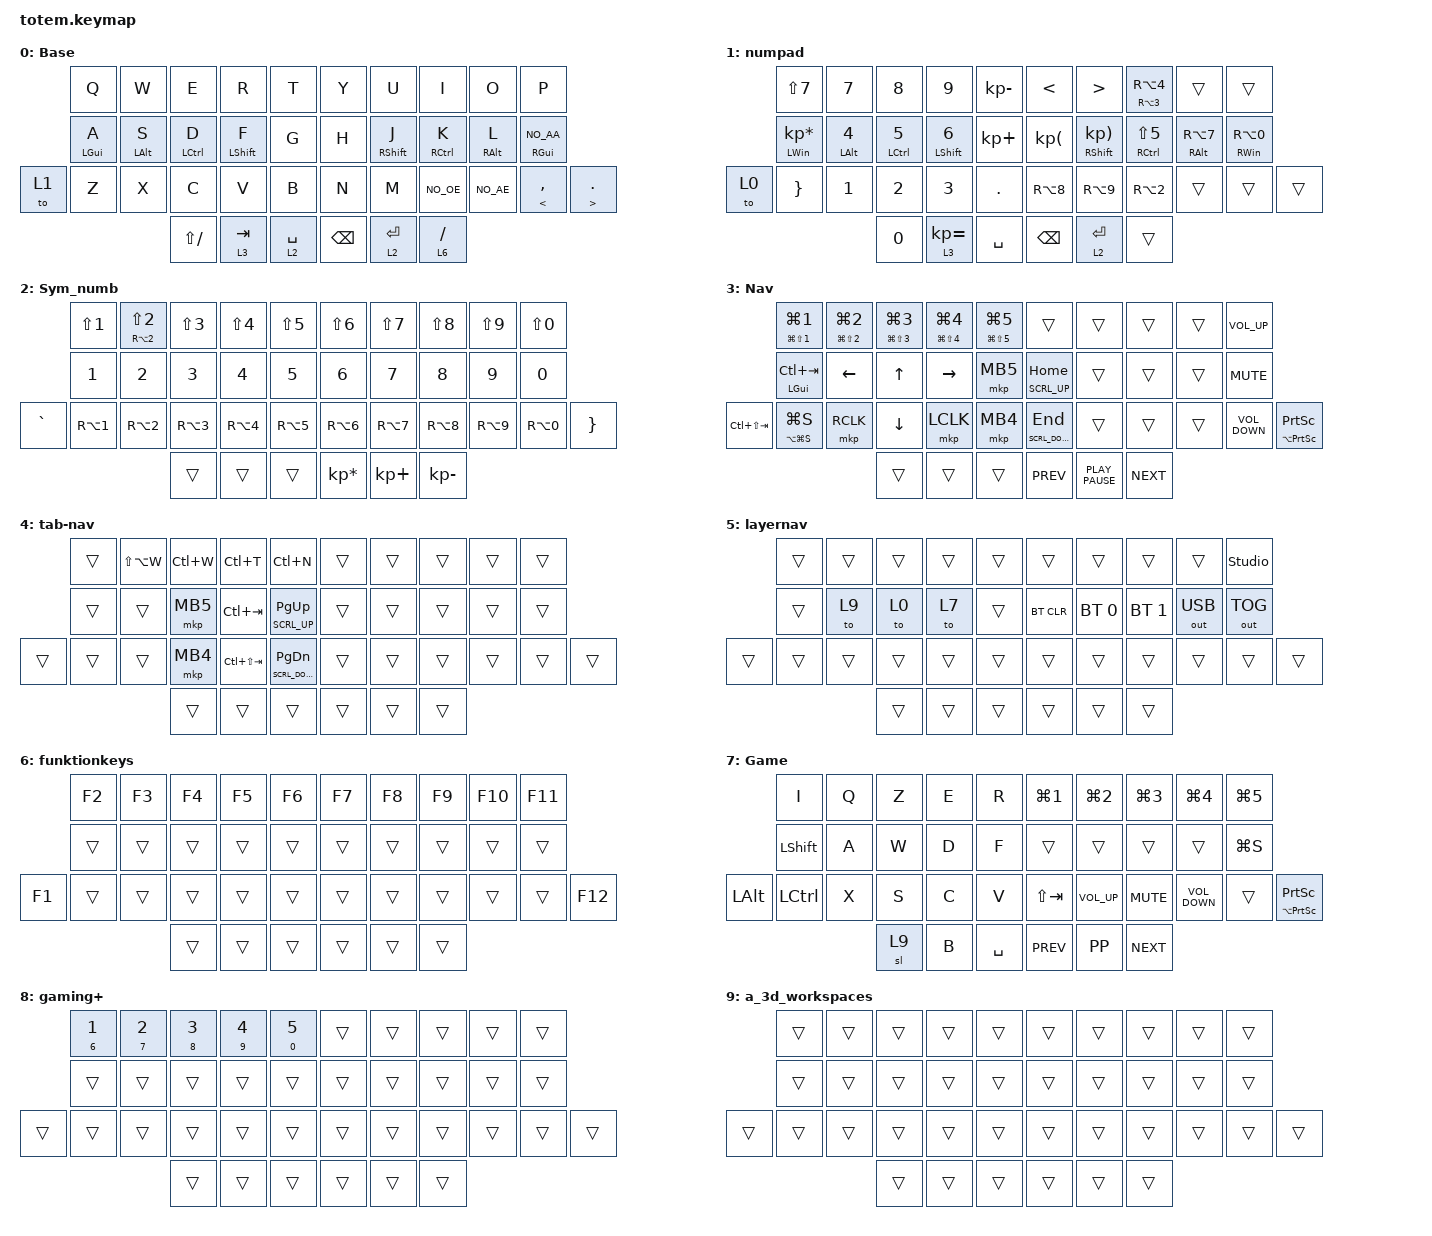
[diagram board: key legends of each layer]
//
//                                                        ▀▀▀▀▀     ▀▀▀▀▀          ▀▀█▀▀
//                                                        ▄▀▀▀▄  ▄  ▄▀▀▀▄  ▄  ▄▀▀▀▄  █  ▄▀▀▀▄
//                                                        █   █  █  █   █  █  █   █  █  █   █
//                                                         ▀▀▀   █   ▀▀▀   █   ▀▀▀   ▀   ▀▀▀
//                                                               █      ▄▄▄█▄▄▄    █   █  
//                                                               ▀      █  █  █     █▄█
//                                                             ▀▀▀▀▀    █  █  █      ▀
//                                                                      ▀  ▀  ▀
//
// ▄▄▄▄▄▄▄▄▄▄▄▄▄▄▄▄▄▄▄▄▄▄▄▄▄▄▄▄▄▄▄▄▄▄▄▄▄▄▄▄▄▄▄▄▄▄▄▄▄▄▄▄▄▄▄▄▄▄▄▄▄▄▄▄▄▄▄▄▄▄▄▄▄▄▄▄▄▄▄▄▄▄▄▄▄▄▄▄▄▄▄▄▄▄▄▄▄▄▄▄▄▄▄▄▄▄▄▄▄▄▄▄▄▄▄▄▄▄▄▄▄▄▄▄▄▄▄▄▄▄▄▄▄▄▄▄▄▄▄▄▄▄▄▄▄▄▄▄▄

#include "keys_no.h"
#include <behaviors.dtsi>
#include <dt-bindings/zmk/keys.h>
#include <dt-bindings/zmk/pointing.h>
#include <dt-bindings/zmk/outputs.h>
#include <dt-bindings/zmk/bt.h>

#define Base        0
#define Nav         1
#define Sym         2
#define Fun         3
#define Game        4
#define Gameplus    5

&mt {
    quick-tap-ms = <100>;
    global-quick-tap;
    flavor = "tap-preferred";
    tapping-term-ms = <170>;
};

&lt {
    tapping-term-ms = <240>;
    flavor = "balanced";
    quick-tap-ms = <150>;
};

/ {
    behaviors {
        hm: homerow_mods {
            compatible = "zmk,behavior-hold-tap";
            label = "HOMEROW_MODS";
            #binding-cells = <2>;
            flavor = "tap-preferred";
            tapping-term-ms = <200>;
            quick-tap-ms = <125>;
            global-quick-tap;
            bindings = <&kp>, <&kp>;
        };

        kp_msc: kp_msc {
            compatible = "zmk,behavior-hold-tap";
            label = "KP_MSC";
            bindings = <&msc>, <&kp>;

            #binding-cells = <2>;
            tapping-term-ms = <200>;
            quick-tap-ms = <125>;
        };
    };

    combos {
        compatible = "zmk,combos";

        escape {
            bindings = <&kp ESC>;
            key-positions = <0 1>;
        };

        backspace {
            bindings = <&kp BACKSPACE>;
            key-positions = <3 4>;
            layers = <3 1 2 0>;
        };

        aaaaaaa {
            bindings = <&kp BACKSPACE>;
            key-positions = <6 5>;
            layers = <1 2 0 3>;
        };

        tabgames {
            bindings = <&kp TAB>;
            key-positions = <21 22>;
            layers = <7>;
        };

        enter {
            bindings = <&kp ENTER>;
            key-positions = <12 11 13>;
            layers = <0 2 1 3>;
        };

        enter2 {
            bindings = <&kp ENTER>;
            key-positions = <16 17 18>;
            layers = <0 2 1 3>;
        };

        tab2 {
            bindings = <&kp TAB>;
            key-positions = <19 18>;
            layers = <0 2 3 1>;
        };

        tab {
            bindings = <&kp TAB>;
            key-positions = <11 10>;
            layers = <0 2 3 1>;
        };

        null {
            bindings = <&kp NUMBER_0>;
            key-positions = <23 22>;
            layers = <1>;
        };

        layernav {
            bindings = <&to 5>;
            key-positions = <21 22 23 24>;
        };
    };

    keymap {
        compatible = "zmk,keymap";

        Base {
            display-name = "Base";
            bindings = <
       &kp Q       &kp W       &kp E          &kp R         &kp T          &kp Y          &kp U        &kp I        &kp O       &kp P
       &hm LGUI A  &hm LALT S  &hm LCTRL D    &hm LSHIFT F  &kp G          &kp H          &hm RSHFT J  &hm RCTRL K  &hm RALT L  &hm RGUI NO_AA
&to 1  &kp Z       &kp X       &kp C          &kp V         &kp B          &kp N          &kp M        &kp NO_OE    &kp NO_AE   &mt LESS_THAN COMMA  &mt GREATER_THAN DOT
                               &kp LS(SLASH)  &lt 3 TAB     &lt 2 SPACE    &kp BACKSPACE  &lt 2 ENTER  &lt 6 SLASH
            >;
        };

        numpad {
            bindings = <
       &kp LS(NUMBER_7)          &kp N7           &kp N8        &kp N9             &kp KP_MINUS    &kp LT                   &kp GREATER_THAN                      &mt RA(NUMBER_3) RA(NUMBER_4)  &trans                      &trans
       &hm LEFT_WIN KP_MULTIPLY  &hm LEFT_ALT N4  &hm LCTRL N5  &hm LEFT_SHIFT N6  &kp KP_PLUS     &kp KP_LEFT_PARENTHESIS  &hm RIGHT_SHIFT KP_RIGHT_PARENTHESIS  &hm RCTRL LS(NUMBER_5)         &hm RIGHT_ALT RA(NUMBER_7)  &hm RIGHT_WIN RA(NUMBER_0)
&to 0  &kp RBRC                  &kp N1           &kp N2        &kp N3             &kp DOT         &kp RA(NUMBER_8)         &kp RA(NUMBER_9)                      &kp RA(NUMBER_2)               &trans                      &trans                      &trans
                                                  &kp N0        &lt 3 KP_EQUAL     &kp SPACE       &kp BACKSPACE            &lt 2 ENTER                           &trans
            >;
        };

        numsym {
            display-name = "Sym_numb";
            bindings = <
           &kp LS(NUMBER_1)  &mt RA(NUMBER_2) LS(NUMBER_2)  &kp LS(N3)  &kp LS(N4)  &kp LS(N5)    &kp LS(N6)       &kp LS(N7)   &kp LS(N8)    &kp LS(N9)  &kp LS(N0)
           &kp N1            &kp N2                         &kp N3      &kp N4      &kp N5        &kp N6           &kp N7       &kp N8        &kp N9      &kp N0
&kp GRAVE  &kp RA(N1)        &kp RA(N2)                     &kp RA(N3)  &kp RA(N4)  &kp RA(N5)    &kp RA(N6)       &kp RA(N7)   &kp RA(N8)    &kp RA(N9)  &kp RA(N0)  &kp RIGHT_BRACE
                                                            &trans      &trans      &trans        &kp KP_MULTIPLY  &kp KP_PLUS  &kp KP_MINUS
            >;
        };

        Nav {
            display-name = "Nav";
            bindings = <
                 &mt LG(LS(NUMBER_1)) LG(NUMBER_1)  &mt LG(LS(NUMBER_2)) LG(NUMBER_2)  &mt LG(LS(NUMBER_3)) LG(NUMBER_3)  &mt LG(LS(NUMBER_4)) LG(NUMBER_4)  &mt LG(LS(NUMBER_5)) LG(NUMBER_5)    &trans                 &trans            &trans      &trans  &kp C_VOLUME_UP
                 &mt LGUI LC(TAB)                   &kp LEFT                           &kp UP                             &kp RIGHT                          &mkp MB5                             &kp_msc SCRL_UP HOME   &trans            &trans      &trans  &kp K_MUTE
&kp LC(LS(TAB))  &mt LA(LG(S)) LG(S)                &mkp RCLK                          &kp DOWN                           &mkp LCLK                          &mkp MB4                             &kp_msc SCRL_DOWN END  &trans            &trans      &trans  &kp C_VOLUME_DOWN  &mt LA(PRINTSCREEN) PRINTSCREEN
                                                                                       &trans                             &trans                             &trans                               &kp K_PREV             &kp K_PLAY_PAUSE  &kp K_NEXT
            >;
        };

        tab-nav {
            bindings = <
        &trans  &kp LS(LA(W))  &kp LC(W)  &kp LC(T)        &kp LC(N)                      &trans  &trans  &trans  &trans  &trans
        &trans  &trans         &mkp MB5   &kp LC(TAB)      &kp_msc SCRL_UP PAGE_UP        &trans  &trans  &trans  &trans  &trans
&trans  &trans  &trans         &mkp MB4   &kp LC(LS(TAB))  &kp_msc SCRL_DOWN PAGE_DOWN    &trans  &trans  &trans  &trans  &trans  &trans
                               &trans     &trans           &trans                         &trans  &trans  &trans
            >;
        };

        layernav {
            bindings = <
        &trans  &trans  &trans  &trans  &trans    &trans      &trans        &trans        &trans        &studio_unlock
        &trans  &to 9   &to 0   &to 7   &trans    &bt BT_CLR  &bt BT_SEL 0  &bt BT_SEL 1  &out OUT_USB  &out OUT_TOG
&trans  &trans  &trans  &trans  &trans  &trans    &trans  &trans  &trans  &trans  &trans          &trans
                        &trans  &trans  &trans    &trans  &trans  &trans
            >;
        };

        funktionkeys {
            bindings = <
        &kp F2  &kp F3  &kp F4  &kp F5  &kp F6    &kp F7  &kp F8  &kp F9  &kp F10  &kp F11
        &trans  &trans  &trans  &trans  &trans    &trans  &trans  &trans  &trans   &trans
&kp F1  &trans  &trans  &trans  &trans  &trans    &trans  &trans  &trans  &trans   &trans   &kp F12
                        &trans  &trans  &trans    &trans  &trans  &trans
            >;
        };

        Gaming {
            display-name = "Game";
            bindings = <
              &kp I      &kp Q  &kp Z  &kp E  &kp R        &kp LG(NUMBER_1)  &kp LG(NUMBER_2)  &kp LG(NUMBER_3)  &kp LG(NUMBER_4)   &kp LG(NUMBER_5)
              &kp LSHFT  &kp A  &kp W  &kp D  &kp F        &trans            &trans            &trans            &trans             &kp LG(S)
&kp LEFT_ALT  &kp LCTRL  &kp X  &kp S  &kp C  &kp V        &kp LS(TAB)       &kp C_VOLUME_UP   &kp K_MUTE        &kp C_VOLUME_DOWN  &trans            &mt LA(PRINTSCREEN) PRINTSCREEN
                                &sl 9  &kp B  &kp SPACE    &kp K_PREV        &kp K_PP          &kp K_NEXT
            >;
        };

        gaming+ {
            bindings = <
        &mt NUMBER_6 NUMBER_1  &mt NUMBER_7 NUMBER_2  &mt NUMBER_8 NUMBER_3  &mt NUMBER_9 NUMBER_4  &mt NUMBER_0 N5    &trans  &trans  &trans  &trans  &trans
        &trans                 &trans                 &trans                 &trans                 &trans             &trans  &trans  &trans  &trans  &trans
&trans  &trans                 &trans                 &trans                 &trans                 &trans             &trans  &trans  &trans  &trans  &trans  &trans
                                                      &trans                 &trans                 &trans             &trans  &trans  &trans
            >;
        };

        a_3d_workspaces {
            bindings = <
        &trans  &trans  &trans  &trans  &trans    &trans  &trans  &trans  &trans  &trans
        &trans  &trans  &trans  &trans  &trans    &trans  &trans  &trans  &trans  &trans
&trans  &trans  &trans  &trans  &trans  &trans    &trans  &trans  &trans  &trans  &trans  &trans
                        &trans  &trans  &trans    &trans  &trans  &trans
            >;
        };
    };
};
